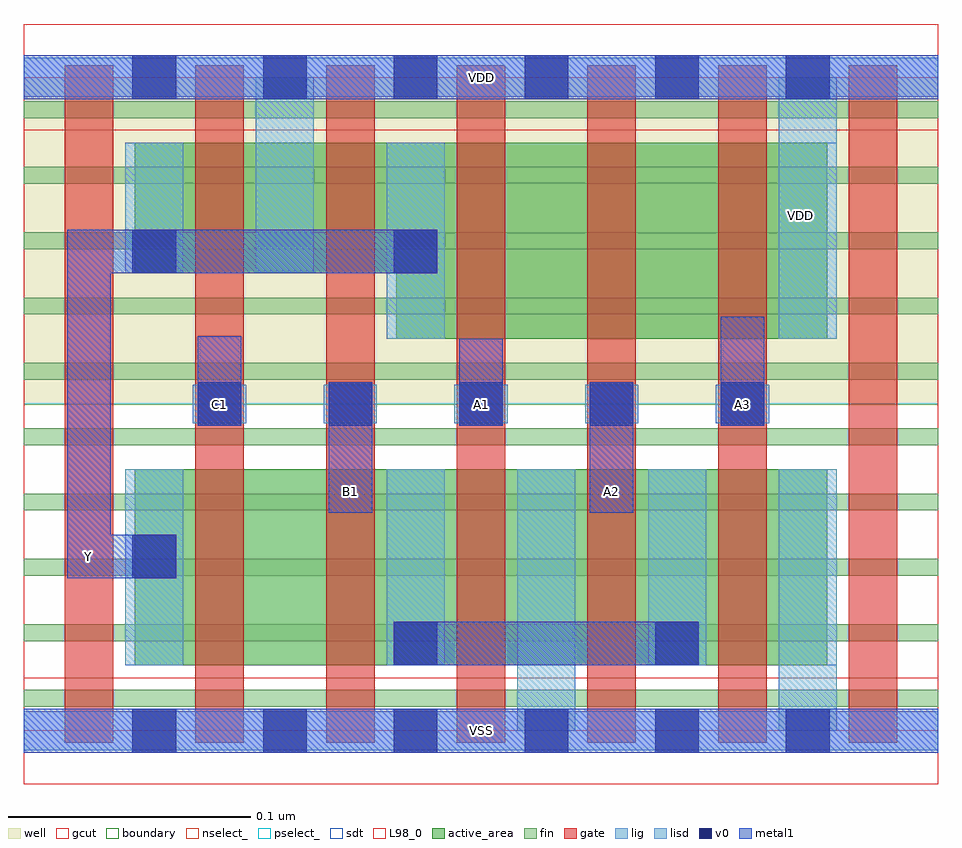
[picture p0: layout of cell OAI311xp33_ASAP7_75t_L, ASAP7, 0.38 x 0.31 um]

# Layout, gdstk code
import gdstk
lib = gdstk.Library(unit=1e-6, precision=2.5e-10)
def R(c, l, rs):  # rectangles x0, y0, x1, y1
    for r in rs: c.add(gdstk.rectangle(r[:2], r[2:], *l))
def A(c, l, x, y, w, h, nx, ny, dx, dy):  # array of equal rectangles
    R(c, l, [(x+i*dx, y+j*dy, x+i*dx+w, y+j*dy+h) for i in range(nx) for j in range(ny)])
def P(c, l, *ps):  # polygons
    for p in ps: c.add(gdstk.Polygon(p, *l))
well = (1, 0)
fin = (2, 0)
gate = (7, 0)
gcut = (10, 0)
active_area = (11, 0)
nselect_ = (12, 0)
pselect_ = (13, 0)
lig = (16, 0)
lisd = (17, 0)
v0 = (18, 0)
metal1 = (19, 0)
sdt = (88, 0)
L98_0 = (98, 0)
boundary = (100, 0)

oai311xp33_asap7_75t_l = lib.new_cell('OAI311xp33_ASAP7_75t_L')
R(oai311xp33_asap7_75t_l, well, [(0,0.135,0.378,0.27)])
A(oai311xp33_asap7_75t_l, fin, 0, 0.01, 0.378, 0.007, 1, 10, 0, 0.027)
A(oai311xp33_asap7_75t_l, gate, 0.017, -0.005, 0.02, 0.28, 7, 1, 0.054, 0)
R(oai311xp33_asap7_75t_l, gcut, [(0,-0.022,0.378,0.022), (0,0.248,0.378,0.292)])
R(oai311xp33_asap7_75t_l, active_area, [(0.046,0.027,0.332,0.108)])
P(oai311xp33_asap7_75t_l, active_area, [(0.154,0.162),(0.154,0.189),(0.046,0.189),(0.046,0.243),(0.332,0.243),(0.332,0.162)])
R(oai311xp33_asap7_75t_l, nselect_, [(0,0,0.378,0.135)])
R(oai311xp33_asap7_75t_l, pselect_, [(0,0.135,0.378,0.27)])
A(oai311xp33_asap7_75t_l, lig, 0.07, 0.127, 0.022, 0.016, 5, 1, 0.054, 0)
R(oai311xp33_asap7_75t_l, lig, [(0,-0.008,0.378,0.008), (0,0.262,0.378,0.278)])
A(oai311xp33_asap7_75t_l, lisd, 0.042, 0.027, 0.024, 0.081, 3, 1, 0.108, 0)
R(oai311xp33_asap7_75t_l, lisd, [(0.204,0,0.228,0.108), (0.312,0,0.336,0.108), (0.15,0.162,0.174,0.243), (0.312,0.162,0.336,0.27), (0.042,0.189,0.066,0.243), (0.096,0.189,0.12,0.27)])
A(oai311xp33_asap7_75t_l, v0, 0.045, -0.009, 0.018, 0.018, 6, 2, 0.054, 0.27)
A(oai311xp33_asap7_75t_l, v0, 0.072, 0.126, 0.018, 0.018, 5, 1, 0.054, 0)
R(oai311xp33_asap7_75t_l, v0, [(0.153,0.027,0.171,0.045), (0.261,0.027,0.279,0.045), (0.045,0.063,0.063,0.081), (0.045,0.189,0.063,0.207), (0.153,0.189,0.171,0.207)])
R(oai311xp33_asap7_75t_l, metal1, [(0,-0.009,0.378,0.009), (0.153,0.027,0.279,0.045), (0.126,0.09,0.144,0.144), (0.234,0.09,0.252,0.144), (0.072,0.126,0.09,0.163), (0.18,0.126,0.198,0.162), (0.288,0.126,0.306,0.171), (0,0.261,0.378,0.279)])
P(oai311xp33_asap7_75t_l, metal1, [(0.018,0.063),(0.018,0.207),(0.171,0.207),(0.171,0.189),(0.036,0.189),(0.036,0.081),(0.063,0.081),(0.063,0.063)])
A(oai311xp33_asap7_75t_l, sdt, 0.15, 0.027, 0.024, 0.081, 4, 1, 0.054, 0)
R(oai311xp33_asap7_75t_l, sdt, [(0.042,0.027,0.066,0.108), (0.15,0.162,0.174,0.243), (0.312,0.162,0.336,0.243), (0.042,0.189,0.066,0.243), (0.096,0.189,0.12,0.243)])
R(oai311xp33_asap7_75t_l, L98_0, [(0,0,0.378,0.27)])
R(oai311xp33_asap7_75t_l, boundary, [(0,0,0.378,0.27)])
oai311xp33_asap7_75t_l.add(gdstk.Label('A1', (0.189,0.135), layer=19, texttype=251))
oai311xp33_asap7_75t_l.add(gdstk.Label('Y', (0.027,0.072), layer=19, texttype=251))
oai311xp33_asap7_75t_l.add(gdstk.Label('A3', (0.297,0.135), layer=19, texttype=251))
oai311xp33_asap7_75t_l.add(gdstk.Label('A2', (0.243,0.099), layer=19, texttype=251))
oai311xp33_asap7_75t_l.add(gdstk.Label('B1', (0.135,0.099), layer=19, texttype=251))
oai311xp33_asap7_75t_l.add(gdstk.Label('C1', (0.081,0.135), layer=19, texttype=251))
oai311xp33_asap7_75t_l.add(gdstk.Label('VSS', (0.189,0), layer=19, texttype=251))
oai311xp33_asap7_75t_l.add(gdstk.Label('VDD', (0.189,0.27), layer=19, texttype=251))
oai311xp33_asap7_75t_l.add(gdstk.Label('VDD', (0.321,0.213), layer=1, texttype=251))
oai311xp33_asap7_75t_l.add(gdstk.Label('VSS', (0.435,0.213), layer=3, texttype=251))

lib.write_gds('OAI311xp33_ASAP7_75t_L.gds')
